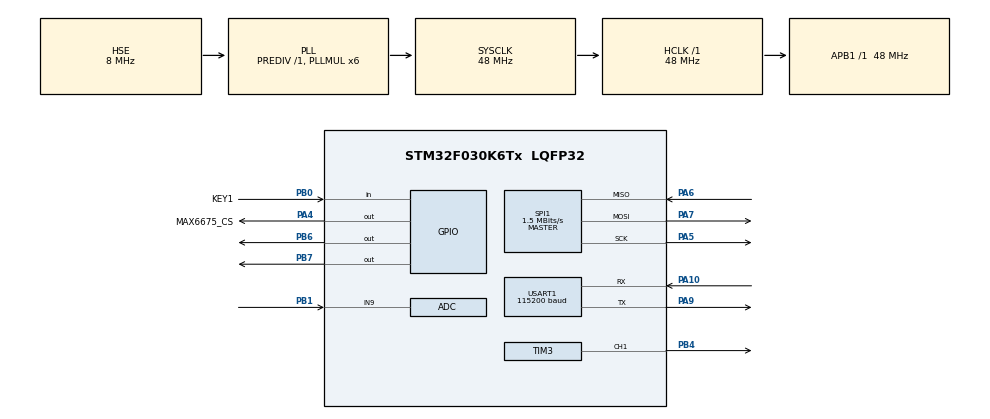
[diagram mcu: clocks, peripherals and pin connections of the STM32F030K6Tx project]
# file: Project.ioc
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Mcu.Family=STM32F0
Mcu.Name=STM32F030K6Tx
Mcu.Package=LQFP32
NVIC.TIM3_IRQn=true\:0\:0\:false\:false\:true\:true\:true\:true
NVIC.USART1_IRQn=true\:1\:0\:false\:false\:true\:true\:true\:true
PA10.Mode=Asynchronous
PA10.Signal=USART1_RX
PA13.Mode=Serial_Wire
PA13.Signal=SYS_SWDIO
PA14.Mode=Serial_Wire
PA14.Signal=SYS_SWCLK
PA4.GPIO_Label=MAX6675_CS
PA4.GPIO_Speed=GPIO_SPEED_FREQ_HIGH
PA4.PinState=GPIO_PIN_SET
PA4.Signal=GPIO_Output
PA5.GPIO_PuPd=GPIO_PULLUP
PA5.Mode=Full_Duplex_Master
PA5.Signal=SPI1_SCK
PA6.GPIO_PuPd=GPIO_PULLUP
PA6.Mode=Full_Duplex_Master
PA6.Signal=SPI1_MISO
PA7.GPIO_PuPd=GPIO_PULLUP
PA7.Mode=Full_Duplex_Master
PA7.Signal=SPI1_MOSI
PA9.Mode=Asynchronous
PA9.Signal=USART1_TX
PB0.GPIO_Label=KEY1
PB0.GPIO_PuPd=GPIO_PULLUP
PB0.Signal=GPIO_Input
PB1.Mode=IN9
PB1.Signal=ADC_IN9
PB4.Signal=S_TIM3_CH1
PB6.GPIO_ModeDefaultOutputPP=GPIO_MODE_OUTPUT_OD
PB6.GPIO_PuPd=GPIO_NOPULL
PB6.GPIO_Speed=GPIO_SPEED_FREQ_HIGH
PB6.PinState=GPIO_PIN_SET
PB6.Signal=GPIO_Output
PB7.GPIO_ModeDefaultOutputPP=GPIO_MODE_OUTPUT_OD
PB7.GPIO_PuPd=GPIO_NOPULL
PB7.GPIO_Speed=GPIO_SPEED_FREQ_HIGH
PB7.PinState=GPIO_PIN_SET
PB7.Signal=GPIO_Output
PF0-OSC_IN.Mode=HSE-External-Oscillator
PF0-OSC_IN.Signal=RCC_OSC_IN
PF1-OSC_OUT.Mode=HSE-External-Oscillator
PF1-OSC_OUT.Signal=RCC_OSC_OUT
ProjectManager.HeapSize=0x200
ProjectManager.StackSize=0x400
ProjectManager.TargetToolchain=MDK-ARM V5.32
RCC.AHBFreq_Value=48000000
RCC.APB1Freq_Value=48000000
RCC.APB1TimFreq_Value=48000000
RCC.HCLKFreq_Value=48000000
RCC.PLLMUL=RCC_PLL_MUL6
RCC.PLLSourceVirtual=RCC_PLLSOURCE_HSE
RCC.SYSCLKFreq_VALUE=48000000
RCC.SYSCLKSource=RCC_SYSCLKSOURCE_PLLCLK
SH.S_TIM3_CH1.0=TIM3_CH1,PWM Generation1 CH1
SPI1.BaudRatePrescaler=SPI_BAUDRATEPRESCALER_32
SPI1.CLKPhase=SPI_PHASE_1EDGE
SPI1.CalculateBaudRate=1.5 MBits/s
SPI1.DataSize=SPI_DATASIZE_16BIT
SPI1.Direction=SPI_DIRECTION_2LINES
SPI1.Mode=SPI_MODE_MASTER
SPI1.NSSPMode=SPI_NSS_PULSE_ENABLE
SPI1.VirtualType=VM_MASTER
TIM3.Channel-PWM\ Generation1\ CH1=TIM_CHANNEL_1
TIM3.OCFastMode_PWM-PWM\ Generation1\ CH1=TIM_OCFAST_ENABLE
TIM3.Period=100-1
TIM3.Prescaler=24-1
USART1.BaudRate=115200
USART1.VirtualMode-Asynchronous=VM_ASYNC
VP_TIM3_VS_ClockSourceINT.Mode=Internal
board=custom

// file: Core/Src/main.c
/* USER CODE BEGIN Header */
/**
  ******************************************************************************
  * @file           : main.c
  * @brief          : Main program body
  ******************************************************************************
  * @attention
  *
  * Copyright (c) 2026 STMicroelectronics.
  * All rights reserved.
  *
  * This software is licensed under terms that can be found in the LICENSE file
  * in the root directory of this software component.
  * If no LICENSE file comes with this software, it is provided AS-IS.
  *
  ******************************************************************************
  */
/* USER CODE END Header */
#include "main.h"
#include "adc.h"
#include "spi.h"
#include "tim.h"
#include "usart.h"
#include "gpio.h"

/* USER CODE BEGIN Includes */
#include "oled.h"
#include "key.h"
#include "esp8266.h"
#include "onenet.h"
#include <string.h>
#define TEMP_SAMPLE_MS 250
#define TEMP_STALE_MS 1000
#define ONENET_RECONNECT_MS 5000
#define ONENET_RX_TIMEOUT_MS 15000
#define PWM_MAX_COMPARE 95
#include "MAX6675.h"
#include "ntc.h"
#include "pid.h"
/* USER CODE END Includes */

void SystemClock_Config(void);

/* USER CODE BEGIN 0 */
uint8_t keynum;

uint8_t mode = 0;
float WaterTemperature = -1.0f;
static uint32_t WaterTemperature_tick = 0;
static volatile uint32_t WaterTemperature_valid_tick = 0;
static volatile uint8_t WaterTemperature_valid = 0;

PID_t WaterTemperaturePID={
	.Target=40,

	.Kp=5.0f,
	.Ki=0.125f,
	.Kd=0.0f,

	.Error0=0,
	.Error1=0,
	.ErrorInt=0,

	.OutMax=PWM_MAX_COMPARE,
	.OutMin=0,
};

	uint32_t upload_tick = 0;
	static uint32_t oled_log_tick = 0;
	static uint32_t oled_value_tick = 0;
	static uint32_t reconnect_tick = 0;
	uint16_t val=0;
	uint8_t previous_mode = 0;
	float previous_target = 40.0f;

/* USER CODE END 0 */

int main(void)
{

  /* USER CODE BEGIN 1 */
  unsigned char *mqtt_data;
  /* USER CODE END 1 */

  /* MCU Configuration--------------------------------------------------------*/

  /* Reset of all peripherals, Initializes the Flash interface and the Systick. */
  HAL_Init();

  /* Configure the system clock */
  SystemClock_Config();

  /* Initialize all configured peripherals */
  MX_GPIO_Init();
  MX_USART1_UART_Init();
  MX_SPI1_Init();
  MX_TIM3_Init();
  MX_ADC_Init();
  /* USER CODE BEGIN 2 */
	/* CS is high after GPIO init; allow the first conversion to finish. */
	WaterTemperature_tick = HAL_GetTick();
	WaterTemperature_valid_tick = WaterTemperature_tick;
	OLED_Init();
//	HAL_TIM_Base_Start_IT(&htim3);
	HAL_TIM_PWM_Start(&htim3, TIM_CHANNEL_1);
	__HAL_TIM_ENABLE_IT(&htim3, TIM_IT_UPDATE);
	PID_Init(&WaterTemperaturePID);
	WaterTemperaturePID.Target = 40.0f;
	__HAL_TIM_SET_COMPARE(&htim3, TIM_CHANNEL_1, 0);

	ESP8266_Init();
	while (OneNet_DevLink() != 0)
	{
		HAL_Delay(1000);
	}
	OneNET_Subscribe();
	upload_tick = HAL_GetTick();
	OLED_Clear();
	OLED_ShowString(1, 1, "TEMP:");
	OLED_ShowString(1, 9, " C");
	OLED_ShowString(2, 1, "SET:");
	OLED_ShowString(2, 8, " OUT:");
  /* USER CODE END 2 */

  /* Infinite loop */
  /* USER CODE BEGIN WHILE */
  while (1)
  {
		keynum = Key_GetNum();

        /* Manual keys adjust PWM duty in 10-count steps. */
        if (mode == 1) {
            if (keynum == 1 && val < PWM_MAX_COMPARE) {
                val += 10;
                if (val > PWM_MAX_COMPARE) val = PWM_MAX_COMPARE;
            }
            if (keynum == 2) val = val >= 10 ? val - 10 : 0;
        }
        if (mode != previous_mode || WaterTemperaturePID.Target != previous_target) {
            PID_Reset(&WaterTemperaturePID);
            previous_mode = mode;
            previous_target = WaterTemperaturePID.Target;
        }
        /* Wait for conversion without blocking the main loop. */
        if ((uint32_t)(HAL_GetTick() - WaterTemperature_tick) >= TEMP_SAMPLE_MS) {
            WaterTemperature = NTC_GetTemp();
            WaterTemperature_tick = HAL_GetTick();
            if (WaterTemperature >= 0.0f) {
                WaterTemperature_valid = 1;
                WaterTemperature_valid_tick = WaterTemperature_tick;
                if (mode == 0 && WaterTemperaturePID.Target > 0.0f) {
                    WaterTemperaturePID.Actual = WaterTemperature;
                    PID_Update(&WaterTemperaturePID);
                }
            } else {
                WaterTemperature_valid = 0;
                PID_Reset(&WaterTemperaturePID);
            }
        }
        /* Fault, stale sample, or zero setpoint disables heating in both modes. */
        if (WaterTemperature_valid == 0 ||
            (uint32_t)(HAL_GetTick() - WaterTemperature_valid_tick) > TEMP_STALE_MS ||
            (mode == 0 && WaterTemperaturePID.Target <= 0.0f)) {
            PID_Reset(&WaterTemperaturePID);
            __HAL_TIM_SET_COMPARE(&htim3, TIM_CHANNEL_1, 0);
        } else {
//					            __HAL_TIM_SET_COMPARE(&htim3, TIM_CHANNEL_1, 0);
            __HAL_TIM_SET_COMPARE(&htim3, TIM_CHANNEL_1,
                mode == 1 ? val : (uint16_t)WaterTemperaturePID.Out);
        }
		if ((uint32_t)(HAL_GetTick() - oled_value_tick) >= TEMP_SAMPLE_MS)
		{
			oled_value_tick = HAL_GetTick();
			if (WaterTemperature < 0.0f)
				OLED_ShowString(1, 6, "ERR");
			else
				OLED_ShowNum(1, 6, (uint32_t)WaterTemperature, 3);
			OLED_ShowNum(2, 5, (uint32_t)WaterTemperaturePID.Target, 3);
			OLED_ShowNum(2, 13,
				mode == 1 ? val : (uint16_t)WaterTemperaturePID.Out, 3);
		}
		if (ESP8266_WaitRecive() == REV_OK)
		{
			if (strstr((char *)esp8266_buf, "WIFI DISCONNECT") != NULL ||
			    strstr((char *)esp8266_buf, "CLOSED") != NULL)
				onenet_link_state = 0;
			mqtt_data = ESP8266_GetIPD(0);
			if (mqtt_data != NULL)
			{
				OneNet_RevPro(mqtt_data);
			}
			ESP8266_Clear();
		}
		if (onenet_link_state == 1 && esp8266_send_count != 0 &&
		    esp8266_last_send_status != 1)
		{
			onenet_link_state = 0;
		}
		if (onenet_link_state == 1 &&
		    (uint32_t)(HAL_GetTick() - onenet_last_rx_tick) > ONENET_RX_TIMEOUT_MS)
		{
			onenet_link_state = 0;
		}
		if (onenet_link_state == 0 &&
		    (uint32_t)(HAL_GetTick() - reconnect_tick) >= ONENET_RECONNECT_MS)
		{
			reconnect_tick = HAL_GetTick();
			onenet_link_state = 2;
			if (ESP8266_ConnectWiFi() &&
			    OneNet_DevLink() == 0)
			{
				OneNET_Subscribe();
				if (esp8266_last_send_status == 1)
				{
					onenet_link_state = 1;
					upload_tick = HAL_GetTick();
					OLED_ShowString(2, 1, "SET:");
					OLED_ShowString(2, 8, " OUT:");
				}
				else
				{
					onenet_link_state = 0;
				}
			}
			else
			{
				onenet_link_state = 0;
			}
		}
		if ((uint32_t)(HAL_GetTick() - oled_log_tick) >= 500)
		{
			oled_log_tick = HAL_GetTick();
			OLED_ShowString(3, 1, onenet_link_state == 1 ? "N:UP    " :
			                (onenet_link_state == 2 ? "N:RETRY " : "N:DOWN  "));
			OLED_ShowString(3, 8, "TX:");
			OLED_ShowNum(3, 11, esp8266_send_count, 3);
			OLED_ShowString(4, 1, "AT:");
			OLED_ShowString(4, 4, esp8266_last_send_status == 1 ? "OK   " :
			                 (esp8266_last_send_status == 2 ? "UART " : "PROM "));
			OLED_ShowString(4, 9, "R:");
			OLED_ShowNum(4, 11, onenet_rx_count, 2);
			OLED_ShowString(4, 13, "T:");
			OLED_ShowHexNum(4, 15, onenet_last_rx_type, 1);
		}

		if (onenet_link_state == 1 &&
		    (uint32_t)(HAL_GetTick() - upload_tick) >= 2000)
		{
			upload_tick = HAL_GetTick();
			OneNet_SendData();
		}

	HAL_Delay(20);
    /* USER CODE END WHILE */

  }
}

void SystemClock_Config(void)
{
  RCC_OscInitTypeDef RCC_OscInitStruct = {0};
  RCC_ClkInitTypeDef RCC_ClkInitStruct = {0};
  RCC_PeriphCLKInitTypeDef PeriphClkInit = {0};

  /** Initializes the RCC Oscillators according to the specified parameters
  * in the RCC_OscInitTypeDef structure.
  */
  RCC_OscInitStruct.OscillatorType = RCC_OSCILLATORTYPE_HSI14|RCC_OSCILLATORTYPE_HSE;
  RCC_OscInitStruct.HSEState = RCC_HSE_ON;
  RCC_OscInitStruct.HSI14State = RCC_HSI14_ON;
  RCC_OscInitStruct.HSI14CalibrationValue = 16;
  RCC_OscInitStruct.PLL.PLLState = RCC_PLL_ON;
  RCC_OscInitStruct.PLL.PLLSource = RCC_PLLSOURCE_HSE;
  RCC_OscInitStruct.PLL.PLLMUL = RCC_PLL_MUL6;
  RCC_OscInitStruct.PLL.PREDIV = RCC_PREDIV_DIV1;
  if (HAL_RCC_OscConfig(&RCC_OscInitStruct) != HAL_OK)
  {
    Error_Handler();
  }

  /** Initializes the CPU, AHB and APB buses clocks
  */
  RCC_ClkInitStruct.ClockType = RCC_CLOCKTYPE_HCLK|RCC_CLOCKTYPE_SYSCLK
                              |RCC_CLOCKTYPE_PCLK1;
  RCC_ClkInitStruct.SYSCLKSource = RCC_SYSCLKSOURCE_PLLCLK;
  RCC_ClkInitStruct.AHBCLKDivider = RCC_SYSCLK_DIV1;
  RCC_ClkInitStruct.APB1CLKDivider = RCC_HCLK_DIV1;

  if (HAL_RCC_ClockConfig(&RCC_ClkInitStruct, FLASH_LATENCY_1) != HAL_OK)
  {
    Error_Handler();
  }
  PeriphClkInit.PeriphClockSelection = RCC_PERIPHCLK_USART1;
  PeriphClkInit.Usart1ClockSelection = RCC_USART1CLKSOURCE_PCLK1;
  if (HAL_RCCEx_PeriphCLKConfig(&PeriphClkInit) != HAL_OK)
  {
    Error_Handler();
  }
}

/* USER CODE BEGIN 4 */
void HAL_TIM_PeriodElapsedCallback(TIM_HandleTypeDef *htim)
{
  if(htim->Instance == TIM3) //判断是不是TIM3的更新中断
  {
			Key_Tick();
            /* Interrupt watchdog also runs during blocking OneNET calls. */
            if (WaterTemperature_valid == 0 ||
                (uint32_t)(HAL_GetTick() - WaterTemperature_valid_tick) > TEMP_STALE_MS)
                __HAL_TIM_SET_COMPARE(&htim3, TIM_CHANNEL_1, (uint16_t)WaterTemperaturePID.Out);
  }
}

/* USER CODE END 4 */

void Error_Handler(void)
{
  __disable_irq();
  while (1)
  {
  }
}
